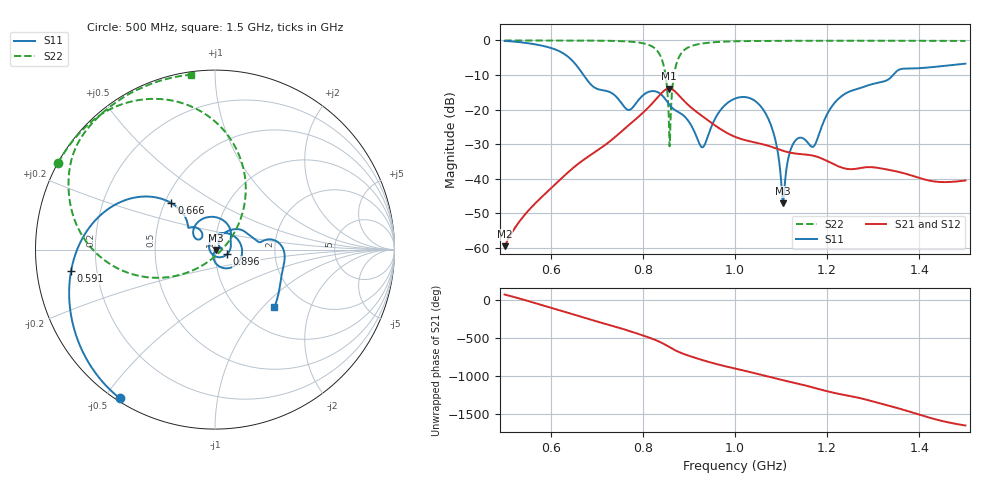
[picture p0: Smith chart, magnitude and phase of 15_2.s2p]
! TOUCHSTONE file generated by CST MICROWAVE STUDIO
! Date and time: Fri Oct  2 16:30:58 2020
! Project name: Scenario_1_Free_Space_out_of_line.cst
! Parameters = {Lambda=346.42; Step_1=17.321; dy1=104.866; dx1=346; L_HA=400; MT=2.54; Rad_Dielectric=30; Rad_Lower=7.3; Rad_Upper=30; a_HA=580; a_WG=246; b_HA=500; b_WG=121; c_HA=0; c_WG=187; d_feed=85; h_feed=15; h_lower=18; h_upper=40}
! Header version: 2018
! Port assignment regex: !\s*Touchstone port\s*([0-9]+)\s*=\s*(CST MWS port|CST DS port)\s*([0-9]+|Zmin|Zmax)\s*\(\"(.*)\"\)(\s*mode\s*([0-9]+))?.*
! Touchstone port assignment:
! Touchstone port 1 = CST MWS port 1 ("")
! Touchstone port 2 = CST MWS port 2 ("")
# GHz S DB R 50
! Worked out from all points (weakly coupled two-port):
!   1003 points, 500 MHz to 1.5 GHz, reference 50 ohm
!   highest |S21| = -13.91 dB at 857 MHz (marker M1); lowest = -59.5 dB at 500 MHz (marker M2)
!   lowest |S11| = -47.1 dB at 1.104 GHz (marker M3), VSWR 1.01, Z = 50.3 - j0.32 ohm
!   |S11| at or under -10 dB: 671.3 MHz to 1.343 GHz (671.9 MHz wide, 66.7 % of centre)
!   |S22| runs from -30.6 to 0.0 dB; largest |S21 - S12| = 0.00011
!   S11 on the Smith chart (normalised r, x): 500 MHz: 0.01, -0.55; 591 MHz: 0.11, -0.07; 666 MHz: 0.54, +0.32; 896 MHz: 1.14, -0.06; 1.5 GHz: 1.43, -1.17
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0.5  -0.14 -122.7  -59.48 76.1  -59.48 76.1  -0.01 151.1
0.591  -1.82 -171.5  -43.95 -81.3  -43.95 -81.4  -0.02 144.8
0.635  -4.44 154.6  -38.45 -159.9  -38.45 -159.9  -0.03 141.2
0.666  -9.00 133.2  -35.03 142.7  -35.03 142.7  -0.04 138.4
0.667  -9.18 132.8  -34.93 140.8  -34.93 140.8  -0.04 138.3
0.768  -20.09 138.5  -24.64 -39.6  -24.64 -39.6  -0.31 123.3
0.834  -15.08 82.0  -16.16 179.0  -16.16 179.0  -3.49 86.0
0.847  -16.66 56.7  -14.45 139.9  -14.45 139.9  -8.33 63.4
0.857  -18.50 41.5  -13.91 105.5  -13.91 105.5  -25.40 15.3
0.873  -20.37 23.1  -15.15 52.7  -15.15 52.7  -6.73 -161.9
0.896  -22.79 -20.0  -18.35 -3.8  -18.35 -3.8  -2.19 170.5
0.93  -30.88 -154.8  -21.99 -69.8  -21.99 -69.8  -0.87 154.4
0.965  -20.80 75.9  -25.34 -129.0  -25.34 -129.0  -0.42 146.0
1  -16.81 15.0  -27.85 -180.0  -27.85 -180.0  -0.25 140.3
1.069  -21.75 -83.9  -30.33 78.3  -30.33 78.4  -0.15 132.5
1.088  -29.01 -104.4  -31.17 49.4  -31.17 49.4  -0.13 130.7
1.104  -47.07 -45.9  -31.89 26.4  -31.89 26.4  -0.12 129.3
1.129  -29.29 17.8  -32.66 -8.1  -32.67 -8.1  -0.11 127.2
1.167  -30.76 26.8  -33.24 -66.2  -33.24 -66.2  -0.10 124.1
1.227  -16.57 49.0  -36.54 -156.5  -36.54 -156.5  -0.08 119.5
1.334  -11.17 10.5  -37.42 49.7  -37.42 49.7  -0.09 111.4
1.5  -6.71 -44.2  -40.49 149.0  -40.54 149.6  -0.15 97.9
